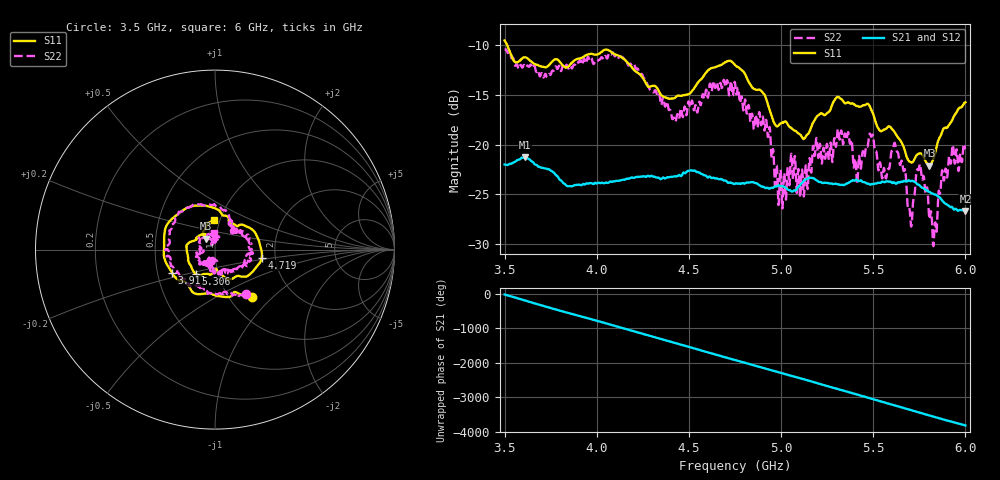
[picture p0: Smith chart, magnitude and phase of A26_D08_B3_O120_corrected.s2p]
! Created with skrf 1.9.0 (http://scikit-rf.org).
# Hz S RI R 50.0
!freq ReS11 ImS11 ReS21 ImS21 ReS12 ImS12 ReS22 ImS22
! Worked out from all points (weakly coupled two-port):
!   1601 points, 3.5 GHz to 6 GHz, reference 50 ohm
!   highest |S21| = -21.28 dB at 3.609 GHz (marker M1); lowest = -26.7 dB at 6 GHz (marker M2)
!   lowest |S11| = -22.1 dB at 5.805 GHz (marker M3), VSWR 1.17, Z = 45.1 + j5.57 ohm
!   |S11| at or under -10 dB: 3.514 GHz to end of sweep
!   |S22| runs from -30.3 to -10.4 dB; largest |S21 - S12| = 0.0011
!   S11 on the Smith chart (normalised r, x): 3.5 GHz: 1.26, -0.75; 3.911 GHz: 0.60, -0.17; 4.719 GHz: 1.69, -0.16; 5.306 GHz: 0.78, -0.22; 6 GHz: 0.93, +0.31
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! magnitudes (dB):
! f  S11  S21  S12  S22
! 3.5 GHz  -9.5  -22.0  -22.0  -10.5
! 3.609 GHz  -11.2  -21.3  -21.3  -12.0
! 3.911 GHz  -11.3  -24.1  -24.1  -11.4
! 3.917 GHz  -11.3  -24.1  -24.1  -11.8
! 4.136 GHz  -11.2  -23.6  -23.6  -11.1
! 4.334 GHz  -14.5  -23.3  -23.3  -14.9
! 4.42 GHz  -15.3  -23.2  -23.2  -17.3
! 4.719 GHz  -11.6  -23.8  -23.9  -15.0
! 4.75 GHz  -12.0  -24.0  -23.9  -13.8
! 4.928 GHz  -15.9  -24.4  -24.4  -19.2
! 4.997 GHz  -17.9  -24.2  -24.2  -22.5
! 5.167 GHz  -18.0  -23.4  -23.3  -21.9
! 5.306 GHz  -15.2  -24.0  -24.0  -18.6
! 5.489 GHz  -16.5  -24.0  -24.0  -19.2
! 5.584 GHz  -18.2  -23.7  -23.7  -22.5
! 5.625 GHz  -19.0  -23.9  -23.9  -20.5
! 5.7 GHz  -21.7  -23.7  -23.7  -27.1
! 5.748 GHz  -20.9  -24.1  -24.1  -22.4
! 5.805 GHz  -22.1  -24.8  -24.8  -27.5
! 5.834 GHz  -21.0  -25.0  -25.0  -27.9
! 5.881 GHz  -18.4  -25.8  -25.8  -23.6
! 6 GHz  -15.7  -26.7  -26.6  -20.5
